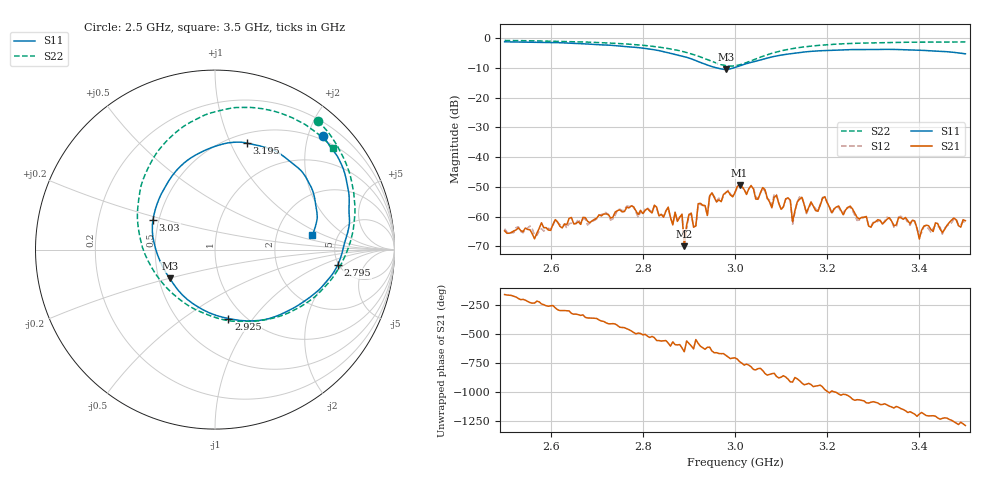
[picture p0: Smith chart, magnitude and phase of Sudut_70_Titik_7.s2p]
# Hz S RI R 50
! CMT, C1220, 16058040, 17.2.0/1
! Date: 15/08/2018 10:07:13
! Data: Format (Calibration Info)
! Freq  S11: Re/Im (F2)  S21: Re/Im (F2)  S12: Re/Im (F2)  S22: Re/Im (F2)
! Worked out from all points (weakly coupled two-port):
!   201 points, 2.5 GHz to 3.5 GHz, reference 50 ohm
!   highest |S21| = -49.34 dB at 3.01 GHz (marker M1); lowest = -70.0 dB at 2.89 GHz (marker M2)
!   lowest |S11| = -10.5 dB at 2.98 GHz (marker M3), VSWR 1.85, Z = 28.6 - j10.1 ohm
!   |S11| at or under -10 dB: 2.961 GHz to 2.997 GHz (35.7 MHz wide, 1.2 % of centre)
!   |S22| runs from -9.4 to -0.7 dB; largest |S21 - S12| = 0.0003
!   S11 on the Smith chart (normalised r, x): 2.5 GHz: 0.43, +2.26; 2.795 GHz: 4.90, -1.58; 2.925 GHz: 0.84, -0.77; 3.03 GHz: 0.46, +0.18; 3.195 GHz: 0.60, +1.16; 3.5 GHz: 3.23, +0.74
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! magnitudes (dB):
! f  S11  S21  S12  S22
! 2.5 GHz  -1.2  -64.8  -64.1  -0.7
! 2.67 GHz  -1.8  -60.3  -60.8  -1.3
! 2.795 GHz  -3.2  -57.9  -58.4  -2.3
! 2.835 GHz  -4.2  -59.8  -59.5  -3.0
! 2.885 GHz  -6.0  -59.2  -59.6  -4.4
! 2.89 GHz  -6.2  -70.0  -69.7  -4.6
! 2.9 GHz  -6.7  -59.3  -59.7  -5.0
! 2.915 GHz  -7.5  -63.2  -63.2  -5.7
! 2.925 GHz  -8.1  -55.5  -55.9  -6.3
! 2.98 GHz  -10.5  -52.0  -52.0  -9.2
! 3 GHz  -9.8  -51.9  -51.9  -9.3
! 3.01 GHz  -9.3  -49.3  -49.8  -8.9
! 3.03 GHz  -8.3  -50.6  -50.8  -7.9
! 3.115 GHz  -5.3  -53.7  -53.8  -3.8
! 3.125 GHz  -5.1  -61.8  -62.6  -3.5
! 3.14 GHz  -4.8  -54.2  -53.4  -3.1
! 3.17 GHz  -4.4  -56.6  -56.4  -2.6
! 3.195 GHz  -4.2  -53.3  -53.5  -2.3
! 3.295 GHz  -3.8  -63.6  -63.2  -1.5
! 3.335 GHz  -3.7  -60.4  -60.6  -1.4
! 3.4 GHz  -4.0  -67.6  -66.4  -1.3
! 3.5 GHz  -5.2  -61.4  -62.1  -1.3
